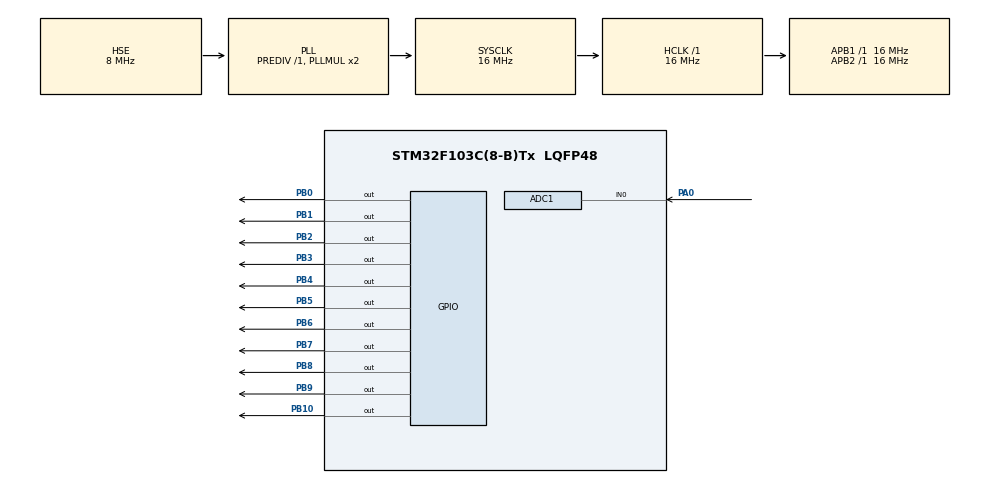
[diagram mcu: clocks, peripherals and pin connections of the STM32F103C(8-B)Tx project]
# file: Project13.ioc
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ADC1.Channel-3\#ChannelRegularConversion=ADC_CHANNEL_0
ADC1.NbrOfConversionFlag=1
ADC1.Rank-3\#ChannelRegularConversion=1
ADC1.SamplingTime-3\#ChannelRegularConversion=ADC_SAMPLETIME_13CYCLES_5
ADC1.master=1
Mcu.Family=STM32F1
Mcu.Name=STM32F103C(8-B)Tx
Mcu.Package=LQFP48
NVIC.PriorityGroup=NVIC_PRIORITYGROUP_4
PA0-WKUP.Signal=ADCx_IN0
PA13.Mode=Serial_Wire
PA13.Signal=SYS_JTMS-SWDIO
PA14.Mode=Serial_Wire
PA14.Signal=SYS_JTCK-SWCLK
PB0.Signal=GPIO_Output
PB1.Signal=GPIO_Output
PB10.Signal=GPIO_Output
PB2.Signal=GPIO_Output
PB3.Signal=GPIO_Output
PB4.Signal=GPIO_Output
PB5.Signal=GPIO_Output
PB6.Signal=GPIO_Output
PB7.Signal=GPIO_Output
PB8.Signal=GPIO_Output
PB9.Signal=GPIO_Output
PD0-OSC_IN.Mode=HSE-External-Oscillator
PD0-OSC_IN.Signal=RCC_OSC_IN
PD1-OSC_OUT.Mode=HSE-External-Oscillator
PD1-OSC_OUT.Signal=RCC_OSC_OUT
ProjectManager.HeapSize=0x200
ProjectManager.StackSize=0x400
ProjectManager.TargetToolchain=STM32CubeIDE
RCC.AHBFreq_Value=16000000
RCC.APB1Freq_Value=16000000
RCC.APB1TimFreq_Value=16000000
RCC.APB2Freq_Value=16000000
RCC.APB2TimFreq_Value=16000000
RCC.HCLKFreq_Value=16000000
RCC.PLLSourceVirtual=RCC_PLLSOURCE_HSE
RCC.SYSCLKFreq_VALUE=16000000
RCC.SYSCLKSource=RCC_SYSCLKSOURCE_PLLCLK
RCC.USBFreq_Value=16000000
SH.ADCx_IN0.0=ADC1_IN0,IN0
board=custom

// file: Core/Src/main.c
/* USER CODE BEGIN Header */
/**
  ******************************************************************************
  * @file           : main.c
  * @brief          : Main program body
  ******************************************************************************
  * @attention
  *
  * Copyright (c) 2025 STMicroelectronics.
  * All rights reserved.
  *
  * This software is licensed under terms that can be found in the LICENSE file
  * in the root directory of this software component.
  * If no LICENSE file comes with this software, it is provided AS-IS.
  *
  ******************************************************************************
  */
/* USER CODE END Header */
#include "main.h"

/* USER CODE BEGIN Includes */
#include "lcd.h"
#include "stdio.h"
/* USER CODE END Includes */

ADC_HandleTypeDef hadc1;

void SystemClock_Config(void);
static void MX_GPIO_Init(void);
static void MX_ADC1_Init(void);

int main(void)
{

  /* MCU Configuration--------------------------------------------------------*/

  /* Reset of all peripherals, Initializes the Flash interface and the Systick. */
  HAL_Init();

  /* Configure the system clock */
  SystemClock_Config();

  /* Initialize all configured peripherals */
  MX_GPIO_Init();
  MX_ADC1_Init();
  /* USER CODE BEGIN 2 */

  lcd_init();

  char str[16];
  int adcValue;
  float vout;
  int temp = 0;

  /* USER CODE END 2 */

  /* Infinite loop */
  while (1)
  {

    /* USER CODE BEGIN 3 */
	HAL_ADC_Start(&hadc1);

	if(HAL_ADC_PollForConversion(&hadc1, 20) == HAL_OK){
		adcValue = HAL_ADC_GetValue(&hadc1);

		vout = (adcValue / 4095.0) * 3.3 ;

		temp = vout * 100;

		sprintf(str, "V = %.5f", vout);

		lcd_gotoxy(0, 0);
		lcd_puts(str);

		sprintf(str, "Temperature = %d ", temp);

		lcd_gotoxy(0, 1);
		lcd_puts(str);
	}

  }
  /* USER CODE END 3 */
}

void SystemClock_Config(void)
{
  RCC_OscInitTypeDef RCC_OscInitStruct = {0};
  RCC_ClkInitTypeDef RCC_ClkInitStruct = {0};
  RCC_PeriphCLKInitTypeDef PeriphClkInit = {0};

  /** Initializes the RCC Oscillators according to the specified parameters
  * in the RCC_OscInitTypeDef structure.
  */
  RCC_OscInitStruct.OscillatorType = RCC_OSCILLATORTYPE_HSE;
  RCC_OscInitStruct.HSEState = RCC_HSE_ON;
  RCC_OscInitStruct.HSEPredivValue = RCC_HSE_PREDIV_DIV1;
  RCC_OscInitStruct.HSIState = RCC_HSI_ON;
  RCC_OscInitStruct.PLL.PLLState = RCC_PLL_ON;
  RCC_OscInitStruct.PLL.PLLSource = RCC_PLLSOURCE_HSE;
  RCC_OscInitStruct.PLL.PLLMUL = RCC_PLL_MUL2;
  if (HAL_RCC_OscConfig(&RCC_OscInitStruct) != HAL_OK)
  {
    Error_Handler();
  }

  /** Initializes the CPU, AHB and APB buses clocks
  */
  RCC_ClkInitStruct.ClockType = RCC_CLOCKTYPE_HCLK|RCC_CLOCKTYPE_SYSCLK
                              |RCC_CLOCKTYPE_PCLK1|RCC_CLOCKTYPE_PCLK2;
  RCC_ClkInitStruct.SYSCLKSource = RCC_SYSCLKSOURCE_PLLCLK;
  RCC_ClkInitStruct.AHBCLKDivider = RCC_SYSCLK_DIV1;
  RCC_ClkInitStruct.APB1CLKDivider = RCC_HCLK_DIV1;
  RCC_ClkInitStruct.APB2CLKDivider = RCC_HCLK_DIV1;

  if (HAL_RCC_ClockConfig(&RCC_ClkInitStruct, FLASH_LATENCY_0) != HAL_OK)
  {
    Error_Handler();
  }
  PeriphClkInit.PeriphClockSelection = RCC_PERIPHCLK_ADC;
  PeriphClkInit.AdcClockSelection = RCC_ADCPCLK2_DIV2;
  if (HAL_RCCEx_PeriphCLKConfig(&PeriphClkInit) != HAL_OK)
  {
    Error_Handler();
  }
}

static void MX_ADC1_Init(void)
{

  ADC_ChannelConfTypeDef sConfig = {0};

  /** Common config
  */
  hadc1.Instance = ADC1;
  hadc1.Init.ScanConvMode = ADC_SCAN_DISABLE;
  hadc1.Init.ContinuousConvMode = DISABLE;
  hadc1.Init.DiscontinuousConvMode = DISABLE;
  hadc1.Init.ExternalTrigConv = ADC_SOFTWARE_START;
  hadc1.Init.DataAlign = ADC_DATAALIGN_RIGHT;
  hadc1.Init.NbrOfConversion = 1;
  if (HAL_ADC_Init(&hadc1) != HAL_OK)
  {
    Error_Handler();
  }

  /** Configure Regular Channel
  */
  sConfig.Channel = ADC_CHANNEL_0;
  sConfig.Rank = ADC_REGULAR_RANK_1;
  sConfig.SamplingTime = ADC_SAMPLETIME_13CYCLES_5;
  if (HAL_ADC_ConfigChannel(&hadc1, &sConfig) != HAL_OK)
  {
    Error_Handler();
  }

}

static void MX_GPIO_Init(void)
{
  GPIO_InitTypeDef GPIO_InitStruct = {0};

  /* GPIO Ports Clock Enable */
  __HAL_RCC_GPIOD_CLK_ENABLE();
  __HAL_RCC_GPIOA_CLK_ENABLE();
  __HAL_RCC_GPIOB_CLK_ENABLE();

  /*Configure GPIO pin Output Level */
  HAL_GPIO_WritePin(GPIOB, GPIO_PIN_0|GPIO_PIN_1|GPIO_PIN_2|GPIO_PIN_10
                          |GPIO_PIN_3|GPIO_PIN_4|GPIO_PIN_5|GPIO_PIN_6
                          |GPIO_PIN_7|GPIO_PIN_8|GPIO_PIN_9, GPIO_PIN_RESET);

  /*Configure GPIO pins : PB0 PB1 PB2 PB10
                           PB3 PB4 PB5 PB6
                           PB7 PB8 PB9 */
  GPIO_InitStruct.Pin = GPIO_PIN_0|GPIO_PIN_1|GPIO_PIN_2|GPIO_PIN_10
                          |GPIO_PIN_3|GPIO_PIN_4|GPIO_PIN_5|GPIO_PIN_6
                          |GPIO_PIN_7|GPIO_PIN_8|GPIO_PIN_9;
  GPIO_InitStruct.Mode = GPIO_MODE_OUTPUT_PP;
  GPIO_InitStruct.Pull = GPIO_NOPULL;
  GPIO_InitStruct.Speed = GPIO_SPEED_FREQ_LOW;
  HAL_GPIO_Init(GPIOB, &GPIO_InitStruct);

}

void Error_Handler(void)
{
  __disable_irq();
  while (1)
  {
  }
}
